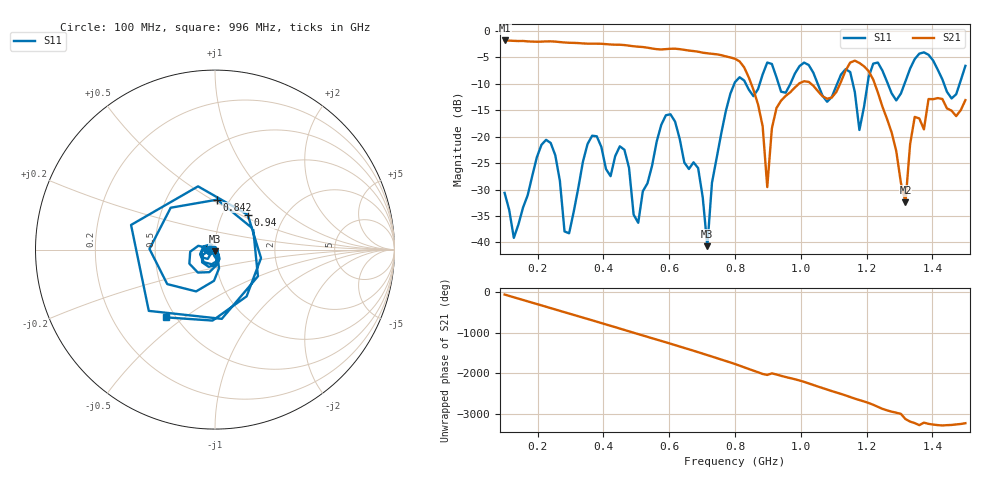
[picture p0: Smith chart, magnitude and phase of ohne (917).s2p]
! NanoVNA-App
! Date: 2025-09-25 14:27:56
! Start: 100MHz Stop: 1,5GHz Points: 101
! S-Parameter data: F S11 S21 S12 S22
# Hz S RI R 50
!  Frequency  S11_Real  S11_Imag  S21_Real  S21_Imag  S12_Real  S12_Imag  S22_Real  S22_Imag
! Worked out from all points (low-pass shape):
!   101 points, 100 MHz to 1.5 GHz, reference 50 ohm
!   highest |S21| = -1.79 dB at 100 MHz (marker M1); lowest = -32.4 dB at 1.318 GHz (marker M2)
!   |S21| within 3 dB of the highest: start of sweep to 771.3 MHz
!   lowest |S11| = -40.7 dB at 716 MHz (marker M3), VSWR 1.02, Z = 49.7 - j0.873 ohm
!   |S11| at or under -10 dB: start of sweep to 797.9 MHz; 833 MHz to 875.1 MHz (42.01 MHz wide, 4.92 % of centre); 1.051 GHz to 1.11 GHz (59.09 MHz wide, 5.47 % of centre) (the widest 3 of 7)
!   S12 and S22 are empty: the file has one direction only
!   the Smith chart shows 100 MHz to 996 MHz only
!   S11 on the Smith chart (normalised r, x): 100 MHz: 0.94, -0.01; 842 MHz: 0.88, +0.53; 940 MHz: 1.32, +0.55; 996 MHz: 0.45, -0.43
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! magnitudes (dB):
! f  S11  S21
! 100 MHz  -30.6  -1.8
! 128 MHz  -39.1  -1.9
! 226 MHz  -20.6  -2.0
! 296 MHz  -38.3  -2.2
! 338 MHz  -24.7  -2.4
! 464 MHz  -22.5  -2.7
! 506 MHz  -36.3  -3.0
! 576 MHz  -17.8  -3.5
! 688 MHz  -25.9  -3.9
! 716 MHz  -40.7  -4.2
! 800 MHz  -9.7  -5.3
! 842 MHz  -11.1  -8.8
! 898 MHz  -6.0  -29.5
! 940 MHz  -11.5  -13.2
! 996 MHz  -6.7  -9.9
! 1.038 GHz  -7.9  -10.4
! 1.178 GHz  -18.7  -6.1
! 1.22 GHz  -6.2  -9.2
! 1.276 GHz  -11.8  -19.2
! 1.318 GHz  -9.5  -32.4
! 1.346 GHz  -5.3  -16.3
! 1.5 GHz  -6.6  -13.1
